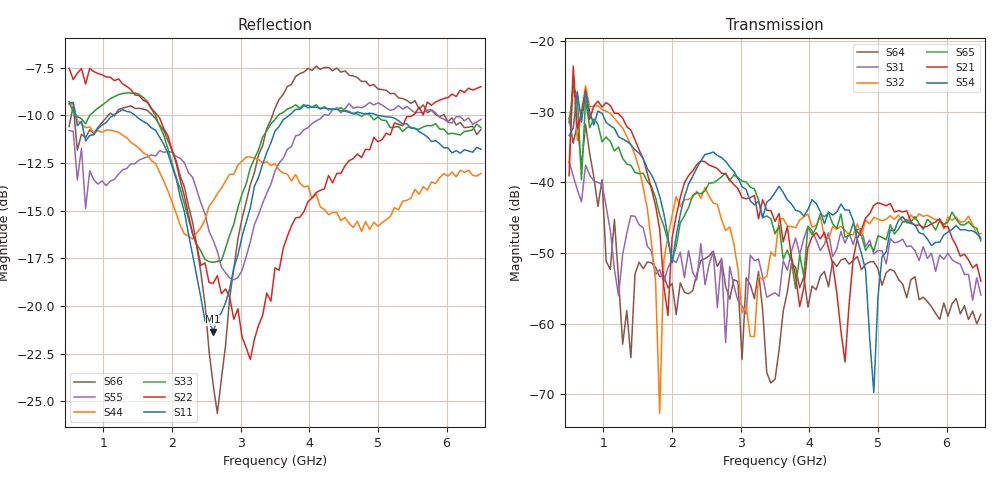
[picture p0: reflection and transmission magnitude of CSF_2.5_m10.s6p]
!Keysight Technologies,M9804A,MY58100912,A.14.10.03
!Date: Thursday, April 27, 2023 10:28:33
!Correction: S11(C  6-Port  )
!S12(C  6-Port  )
!S13(C  6-Port  )
!S14(C  6-Port  )
!S15(C  6-Port  )
!S16(C  6-Port  )
!S21(C  6-Port  )
!S22(C  6-Port  )
!S23(C  6-Port  )
!S24(C  6-Port  )
!S25(C  6-Port  )
!S26(C  6-Port  )
!S31(C  6-Port  )
!S32(C  6-Port  )
!S33(C  6-Port  )
!S34(C  6-Port  )
!S35(C  6-Port  )
!S36(C  6-Port  )
!S41(C  6-Port  )
!S42(C  6-Port  )
!S43(C  6-Port  )
!S44(C  6-Port  )
!S45(C  6-Port  )
!S46(C  6-Port  )
!S51(C  6-Port  )
!S52(C  6-Port  )
!S53(C  6-Port  )
!S54(C  6-Port  )
!S55(C  6-Port  )
!S56(C  6-Port  )
!S61(C  6-Port  )
!S62(C  6-Port  )
!S63(C  6-Port  )
!S64(C  6-Port  )
!S65(C  6-Port  )
!S66(C  6-Port  )
!S6P File: Measurement: :
# Hz S  RI  R 50
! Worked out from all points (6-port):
!   101 points, 500 MHz to 6.5 GHz, reference 50 ohm
!   strongest paths, dB at 500 MHz, 2 GHz, 3.5 GHz, 5 GHz, 6.5 GHz:
!     S54: -33.4, -51.4, -41.4, -56.3, -47.9
!     S21: -39.0, -47.9, -45.5, -42.9, -54.0
!     S65: -31.5, -51.1, -47.3, -47.6, -48.3
!     S32: -37.2, -44.7, -50.5, -45.2, -47.2
!     S31: -37.1, -50.9, -55.6, -49.6, -55.9
!     S64: -30.9, -54.3, -67.9, -52.2, -58.7
!   lowest |S11| = -21.3 dB at 2.6 GHz (marker M1), VSWR 1.19, Z = 42.4 + j2.3 ohm
!   |S11| at or under -10 dB: 593.1 MHz to 1.146 GHz (552.8 MHz wide, 63.6 % of centre); 1.46 GHz to 3.708 GHz (2.249 GHz wide, 87 % of centre); 4.988 GHz to end of sweep
